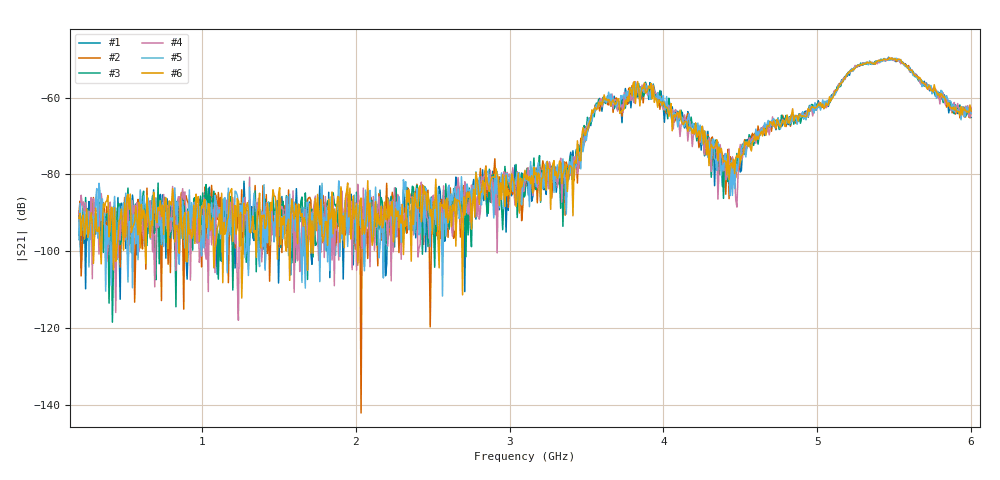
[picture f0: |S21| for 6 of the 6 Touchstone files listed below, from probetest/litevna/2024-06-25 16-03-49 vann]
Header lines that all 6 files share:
! NanoVNA-App
! Start: 200MHz Stop: 6GHz Points: 801
! S-Parameter data: F S11 S21 S12 S22
# Hz S RI R 50
!  Frequency  S11_Real  S11_Imag  S21_Real  S21_Imag  S12_Real  S12_Imag  S22_Real  S22_Imag
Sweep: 200 MHz to 6 GHz
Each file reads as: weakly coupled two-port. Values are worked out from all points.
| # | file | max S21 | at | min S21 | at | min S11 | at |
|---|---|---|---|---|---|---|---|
| 1 | 1.s2p | -49.47 dB | 5.463 GHz | -112.5 dB | 468.2 MHz | -5.3 dB | 2.948 GHz |
| 2 | 5.s2p | -49.61 dB | 5.485 GHz | -142.2 dB | 2.034 GHz | -5.3 dB | 2.948 GHz |
| 3 | 6.s2p | -49.80 dB | 5.434 GHz | -118.5 dB | 417.5 MHz | -5.3 dB | 2.948 GHz |
| 4 | 7.s2p | -49.68 dB | 5.463 GHz | -118.0 dB | 1.237 GHz | -5.3 dB | 2.948 GHz |
| 5 | 9.s2p | -49.74 dB | 5.514 GHz | -111.7 dB | 2.563 GHz | -5.3 dB | 2.948 GHz |
| 6 | 10.s2p | -49.54 dB | 5.471 GHz | -112.2 dB | 1.258 GHz | -5.3 dB | 2.948 GHz |
